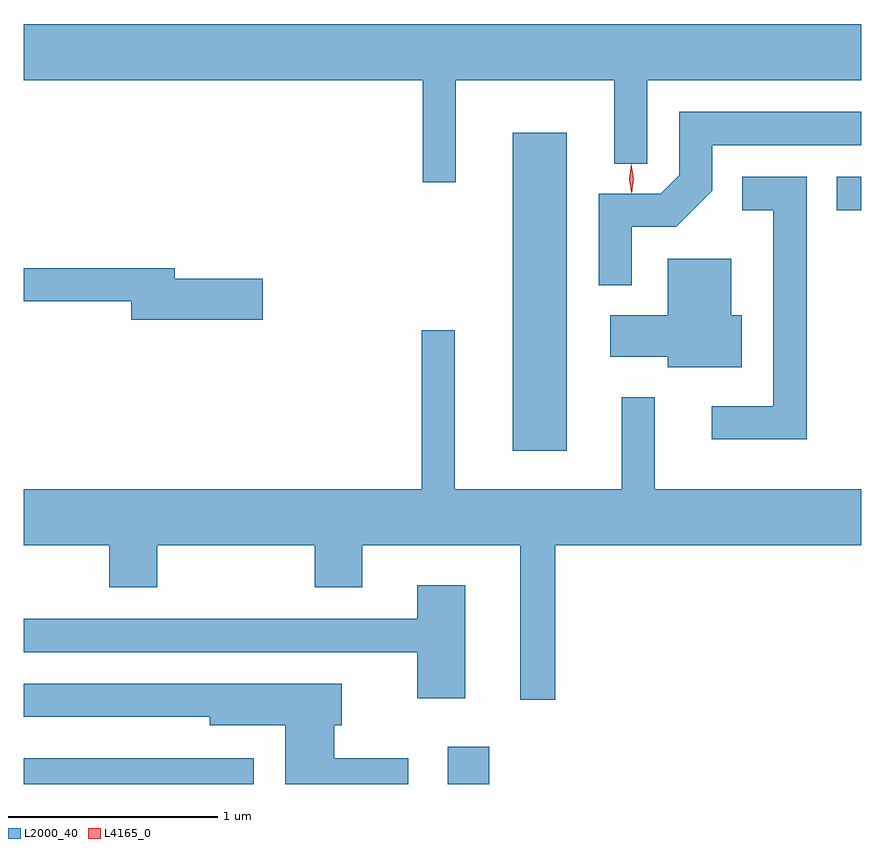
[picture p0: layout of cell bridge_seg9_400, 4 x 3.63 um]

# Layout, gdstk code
import gdstk
lib = gdstk.Library(unit=1e-6, precision=1e-09)
def R(c, l, rs):  # rectangles x0, y0, x1, y1
    for r in rs: c.add(gdstk.rectangle(r[:2], r[2:], *l))
def P(c, l, *ps):  # polygons
    for p in ps: c.add(gdstk.Polygon(p, *l))
L2000_40 = (2000, 40)
L4165_0 = (4165, 0)

bridge_seg9_400 = lib.new_cell('bridge_seg9_400')
R(bridge_seg9_400, L2000_40, [(515.191,2050.616,516.289,2050.739), (517.216,2050.616,517.414,2050.794), (517.526,2052.206,517.784,2053.724), (519.073,2053.356,519.191,2053.514)])
P(bridge_seg9_400, L2000_40, [(517.254,2053.976),(518.011,2053.976),(518.011,2053.577),(518.169,2053.577),(518.169,2053.976),(519.191,2053.976),(519.191,2054.244),(515.191,2054.244),(515.191,2053.976),(517.096,2053.976),(517.096,2053.488),(517.254,2053.488)],
  [(518.094,2053.276),(518.307,2053.276),(518.479,2053.449),(518.479,2053.666),(519.191,2053.666),(519.191,2053.824),(518.321,2053.824),(518.321,2053.521),(518.234,2053.434),(517.936,2053.434),(517.936,2052.998),(518.094,2052.998)],
  [(518.929,2053.514),(518.623,2053.514),(518.623,2053.356),(518.771,2053.356),(518.771,2052.419),(518.477,2052.419),(518.477,2052.261),(518.929,2052.261)],
  [(518.619,2052.854),(518.569,2052.854),(518.569,2053.124),(518.266,2053.124),(518.266,2052.854),(517.991,2052.854),(517.991,2052.656),(518.266,2052.656),(518.266,2052.606),(518.619,2052.606)],
  [(516.334,2053.029),(515.914,2053.029),(515.914,2053.079),(515.191,2053.079),(515.191,2052.921),(515.706,2052.921),(515.706,2052.831),(516.334,2052.831)],
  [(517.729,2051.756),(519.191,2051.756),(519.191,2052.024),(518.204,2052.024),(518.204,2052.463),(518.046,2052.463),(518.046,2052.024),(517.249,2052.024),(517.249,2052.783),(517.091,2052.783),(517.091,2052.024),(515.191,2052.024),(515.191,2051.756),(515.601,2051.756),(515.601,2051.556),(515.829,2051.556),(515.829,2051.756),(516.581,2051.756),(516.581,2051.556),(516.809,2051.556),(516.809,2051.756),(517.561,2051.756),(517.561,2051.018),(517.729,2051.018)],
  [(517.299,2051.564),(517.071,2051.564),(517.071,2051.404),(515.191,2051.404),(515.191,2051.246),(517.071,2051.246),(517.071,2051.026),(517.299,2051.026)],
  [(517.028,2050.739),(516.674,2050.739),(516.674,2050.896),(516.709,2050.896),(516.709,2051.094),(515.191,2051.094),(515.191,2050.936),(516.081,2050.936),(516.081,2050.896),(516.441,2050.896),(516.441,2050.616),(517.028,2050.616)])
P(bridge_seg9_400, L4165_0, [(518.094,2053.437),(518.094,2053.437),(518.083,2053.506),(518.091,2053.575),(518.092,2053.576),(518.092,2053.575),(518.103,2053.506),(518.094,2053.437)],
  [(518.094,2053.439),(518.093,2053.44),(518.083,2053.506),(518.091,2053.572),(518.092,2053.572),(518.092,2053.572),(518.103,2053.506),(518.094,2053.44)])

lib.write_gds('bridge_seg9_400.gds')
